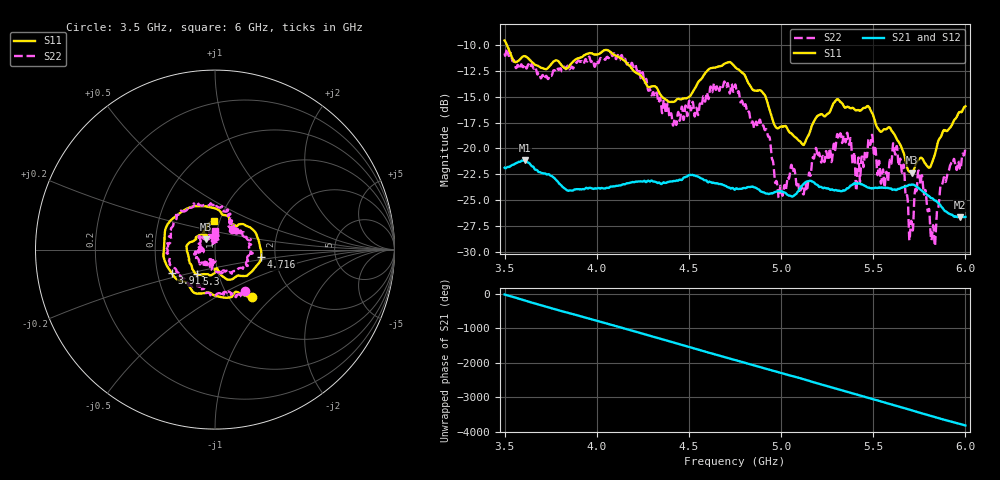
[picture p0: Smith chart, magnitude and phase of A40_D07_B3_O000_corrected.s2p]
! Created with skrf 1.9.0 (http://scikit-rf.org).
# Hz S RI R 50.0
!freq ReS11 ImS11 ReS21 ImS21 ReS12 ImS12 ReS22 ImS22
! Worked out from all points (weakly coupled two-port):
!   1601 points, 3.5 GHz to 6 GHz, reference 50 ohm
!   highest |S21| = -21.16 dB at 3.609 GHz (marker M1); lowest = -26.6 dB at 5.972 GHz (marker M2)
!   lowest |S11| = -22.3 dB at 5.709 GHz (marker M3), VSWR 1.17, Z = 45 + j5.24 ohm
!   |S11| at or under -10 dB: 3.513 GHz to end of sweep
!   |S22| runs from -29.5 to -10.4 dB; largest |S21 - S12| = 0.00094
!   S11 on the Smith chart (normalised r, x): 3.5 GHz: 1.27, -0.75; 3.911 GHz: 0.59, -0.17; 4.716 GHz: 1.69, -0.15; 5.3 GHz: 0.79, -0.22; 6 GHz: 0.94, +0.31
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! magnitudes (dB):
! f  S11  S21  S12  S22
! 3.5 GHz  -9.6  -21.9  -21.8  -10.8
! 3.609 GHz  -11.1  -21.2  -21.2  -11.8
! 3.911 GHz  -11.2  -23.9  -23.9  -11.6
! 3.917 GHz  -11.2  -24.0  -23.9  -11.6
! 4.142 GHz  -11.4  -23.5  -23.5  -11.4
! 4.334 GHz  -14.4  -23.3  -23.3  -15.6
! 4.422 GHz  -15.5  -23.1  -23.1  -17.1
! 4.716 GHz  -11.7  -23.8  -23.8  -14.1
! 4.75 GHz  -12.1  -24.0  -23.9  -13.9
! 4.928 GHz  -15.7  -24.4  -24.4  -18.7
! 4.995 GHz  -17.9  -24.1  -24.1  -23.6
! 5.167 GHz  -17.8  -23.2  -23.2  -21.4
! 5.3 GHz  -15.3  -24.0  -24.0  -19.1
! 5.417 GHz  -16.3  -23.4  -23.4  -21.2
! 5.584 GHz  -17.9  -23.8  -23.8  -22.2
! 5.62 GHz  -18.8  -24.0  -24.0  -20.6
! 5.709 GHz  -22.3  -23.5  -23.4  -27.2
! 5.753 GHz  -21.0  -23.9  -23.9  -23.0
! 5.827 GHz  -21.0  -24.9  -24.9  -27.5
! 5.875 GHz  -18.5  -25.7  -25.7  -23.4
! 5.972 GHz  -16.5  -26.6  -26.6  -22.0
! 6 GHz  -15.9  -26.6  -26.6  -19.9
